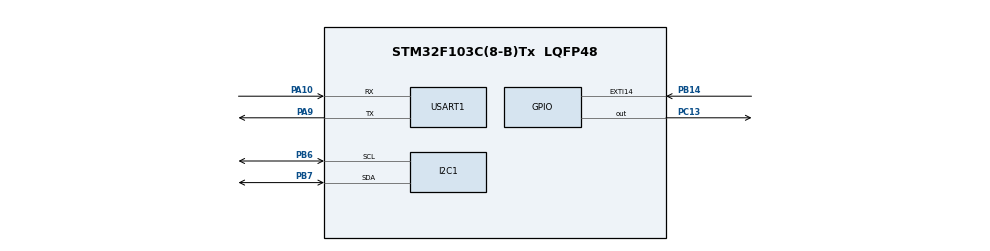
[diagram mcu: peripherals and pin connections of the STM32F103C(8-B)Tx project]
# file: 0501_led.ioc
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Dma.Request0=USART1_TX
Dma.Request1=USART1_RX
Dma.USART1_RX.1.Direction=DMA_PERIPH_TO_MEMORY
Dma.USART1_RX.1.Instance=DMA1_Channel5
Dma.USART1_RX.1.MemDataAlignment=DMA_MDATAALIGN_BYTE
Dma.USART1_RX.1.MemInc=DMA_MINC_ENABLE
Dma.USART1_RX.1.Mode=DMA_NORMAL
Dma.USART1_RX.1.PeriphDataAlignment=DMA_PDATAALIGN_BYTE
Dma.USART1_RX.1.PeriphInc=DMA_PINC_DISABLE
Dma.USART1_RX.1.Priority=DMA_PRIORITY_LOW
Dma.USART1_TX.0.Direction=DMA_MEMORY_TO_PERIPH
Dma.USART1_TX.0.Instance=DMA1_Channel4
Dma.USART1_TX.0.MemDataAlignment=DMA_MDATAALIGN_BYTE
Dma.USART1_TX.0.MemInc=DMA_MINC_ENABLE
Dma.USART1_TX.0.Mode=DMA_NORMAL
Dma.USART1_TX.0.PeriphDataAlignment=DMA_PDATAALIGN_BYTE
Dma.USART1_TX.0.PeriphInc=DMA_PINC_DISABLE
Dma.USART1_TX.0.Priority=DMA_PRIORITY_LOW
Mcu.Family=STM32F1
Mcu.Name=STM32F103C(8-B)Tx
Mcu.Package=LQFP48
NVIC.DMA1_Channel4_IRQn=true\:0\:0\:false\:false\:true\:false\:true\:true
NVIC.DMA1_Channel5_IRQn=true\:0\:0\:false\:false\:true\:false\:true\:true
NVIC.EXTI15_10_IRQn=true\:0\:0\:true\:false\:true\:true\:true\:true
NVIC.I2C1_ER_IRQn=true\:0\:0\:false\:false\:true\:true\:true\:true
NVIC.I2C1_EV_IRQn=true\:0\:0\:false\:false\:true\:true\:true\:true
NVIC.PriorityGroup=NVIC_PRIORITYGROUP_4
NVIC.USART1_IRQn=true\:0\:0\:false\:false\:true\:true\:true\:true
PA10.Mode=Asynchronous
PA10.Signal=USART1_RX
PA13.Mode=Serial_Wire
PA13.Signal=SYS_JTMS-SWDIO
PA14.Mode=Serial_Wire
PA14.Signal=SYS_JTCK-SWCLK
PA9.Mode=Asynchronous
PA9.Signal=USART1_TX
PB14.GPIO_ModeDefaultEXTI=GPIO_MODE_IT_RISING_FALLING
PB14.Signal=GPXTI14
PB6.Mode=I2C
PB6.Signal=I2C1_SCL
PB7.Mode=I2C
PB7.Signal=I2C1_SDA
PC13-TAMPER-RTC.Signal=GPIO_Output
ProjectManager.HeapSize=0x200
ProjectManager.StackSize=0x400
ProjectManager.TargetToolchain=MDK-ARM V5.32
RCC.APB1Freq_Value=8000000
RCC.APB2Freq_Value=8000000
USART1.VirtualMode=VM_ASYNC
board=custom

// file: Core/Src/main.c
/* USER CODE BEGIN Header */
/**
  ******************************************************************************
  * @file           : main.c
  * @brief          : Main program body
  ******************************************************************************
  * @attention
  *
  * Copyright (c) 2023 STMicroelectronics.
  * All rights reserved.
  *
  * This software is licensed under terms that can be found in the LICENSE file
  * in the root directory of this software component.
  * If no LICENSE file comes with this software, it is provided AS-IS.
  *
  ******************************************************************************
  */
/* USER CODE END Header */
#include "main.h"
#include "dma.h"
#include "i2c.h"
#include "usart.h"
#include "gpio.h"

/* USER CODE BEGIN Includes */
#include "driver_oled.h"
#include "circle_buffer.h"
#include <stdio.h>
/* USER CODE END Includes */

/* USER CODE BEGIN PTD */
struct soft_timer {
	uint32_t timeout;
	void * args;
	void (*func)(void *);
};
/* USER CODE END PTD */

/* USER CODE BEGIN PV */
extern UART_HandleTypeDef huart1;
extern I2C_HandleTypeDef hi2c1;

int g_key_cnt = 0;

void key_timeout_func(void *args);

struct soft_timer key_timer = {~0, NULL, key_timeout_func};

static uint8_t g_data_buf[100];
static circle_buf g_key_bufs;

void Wait_Tx_Complete(void);
void Wait_Rx_Complete(void);
void StartUART1Recv(void);
int UART1GetChar(uint8_t *pVal);

void Wait_I2C1Tx_Complete(void);
void Wait_I2C1Rx_Complete(void);

void key_timeout_func(void *args)
{
	uint8_t key_val; /* 按下�?0x1, 松开 0x81 */
	g_key_cnt++;
	key_timer.timeout = ~0;

	/* read gpio */
	if (HAL_GPIO_ReadPin(GPIOB, GPIO_PIN_14) == GPIO_PIN_RESET)
		key_val = 0x1;
	else
		key_val = 0x81;

	/* put key val into circle buf */
	circle_buf_write(&g_key_bufs, key_val);
}

void mod_timer(struct soft_timer *pTimer, uint32_t timeout)
{
	pTimer->timeout = HAL_GetTick() + timeout;
}

void check_timer(void)
{
	if (key_timer.timeout <= HAL_GetTick())
	{
		key_timer.func(key_timer.args);
	}
}

void HAL_GPIO_EXTI_Callback(uint16_t GPIO_Pin)
{
	if (GPIO_Pin == GPIO_PIN_14)
	{
		mod_timer(&key_timer, 10);
	}
}
/* USER CODE END PV */

void SystemClock_Config(void);

int main(void)
{
  /* USER CODE BEGIN 1 */
	int len;
	char *str = "www.100ask.net\r\n";
	char *str2 = "Please enter a char: \r\n";
	char c;

  /* USER CODE END 1 */

  /* MCU Configuration--------------------------------------------------------*/

  /* Reset of all peripherals, Initializes the Flash interface and the Systick. */
  HAL_Init();

  /* Configure the system clock */
  SystemClock_Config();

  /* USER CODE BEGIN SysInit */
  circle_buf_init(&g_key_bufs, 100, g_data_buf);
  /* USER CODE END SysInit */

  /* Initialize all configured peripherals */
  MX_GPIO_Init();
  MX_DMA_Init();
  MX_I2C1_Init();
  MX_USART1_UART_Init();
  /* USER CODE BEGIN 2 */

	// Init OLED
    OLED_Init();

	// 清屏
	OLED_Clear();

  /* USER CODE END 2 */

  /* Infinite loop */
  /* USER CODE BEGIN WHILE */
	OLED_PrintChinese(5, 3);
  //HAL_Delay(10000);
  //OLED_PrintString(0, 0, "Cnt     : ");
  //len = OLED_PrintString(0, 2, "Key val : ");
	//HAL_UART_Transmit(&huart1, str, strlen(str), 1000);

	/* use HAL_UART_Receive_IT来使能RXNE中断 */
	StartUART1Recv();

	uint8_t reg = 0x75;
	uint8_t val;

	while (1)
  {

//	  OLED_PrintSignedVal(len, 0, g_key_cnt);
//	  uint8_t key_val = 0;
//	  if (0 == circle_buf_read(&g_key_bufs, &key_val))
//	  {
//		  OLED_ClearLine(len, 2);
//		  OLED_PrintHex(len, 2, key_val, 1);
//	  }
//		/* set PC13 output high */
//		HAL_GPIO_WritePin(GPIOC, GPIO_PIN_13, GPIO_PIN_SET);
//		HAL_Delay(500);
//
//		/* set PC13 output low */
//		HAL_GPIO_WritePin(GPIOC, GPIO_PIN_13, GPIO_PIN_RESET);
//		HAL_Delay(500);

    /* USER CODE END WHILE */

  }
}

void SystemClock_Config(void)
{
  RCC_OscInitTypeDef RCC_OscInitStruct = {0};
  RCC_ClkInitTypeDef RCC_ClkInitStruct = {0};

  /** Initializes the RCC Oscillators according to the specified parameters
  * in the RCC_OscInitTypeDef structure.
  */
  RCC_OscInitStruct.OscillatorType = RCC_OSCILLATORTYPE_HSI;
  RCC_OscInitStruct.HSIState = RCC_HSI_ON;
  RCC_OscInitStruct.HSICalibrationValue = RCC_HSICALIBRATION_DEFAULT;
  RCC_OscInitStruct.PLL.PLLState = RCC_PLL_NONE;
  if (HAL_RCC_OscConfig(&RCC_OscInitStruct) != HAL_OK)
  {
    Error_Handler();
  }

  /** Initializes the CPU, AHB and APB buses clocks
  */
  RCC_ClkInitStruct.ClockType = RCC_CLOCKTYPE_HCLK|RCC_CLOCKTYPE_SYSCLK
                              |RCC_CLOCKTYPE_PCLK1|RCC_CLOCKTYPE_PCLK2;
  RCC_ClkInitStruct.SYSCLKSource = RCC_SYSCLKSOURCE_HSI;
  RCC_ClkInitStruct.AHBCLKDivider = RCC_SYSCLK_DIV1;
  RCC_ClkInitStruct.APB1CLKDivider = RCC_HCLK_DIV1;
  RCC_ClkInitStruct.APB2CLKDivider = RCC_HCLK_DIV1;

  if (HAL_RCC_ClockConfig(&RCC_ClkInitStruct, FLASH_LATENCY_0) != HAL_OK)
  {
    Error_Handler();
  }
}

void Error_Handler(void)
{
  __disable_irq();
  while (1)
  {
  }
}
